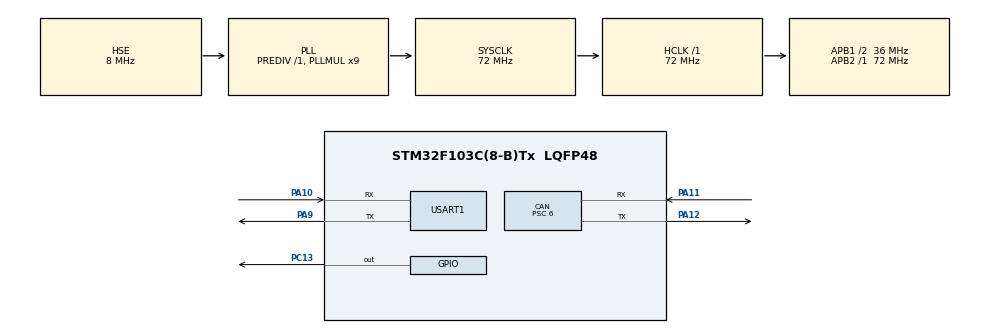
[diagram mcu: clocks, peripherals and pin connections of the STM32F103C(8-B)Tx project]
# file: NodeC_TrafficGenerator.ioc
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CAN.ABOM=ENABLE
CAN.BS1=CAN_BS1_9TQ
CAN.BS2=CAN_BS2_2TQ
CAN.CalculateBaudRate=499999
CAN.CalculateTimeBit=2000
CAN.CalculateTimeQuantum=166.66666666666669
CAN.Prescaler=6
Mcu.Family=STM32F1
Mcu.Name=STM32F103C(8-B)Tx
Mcu.Package=LQFP48
NVIC.PriorityGroup=NVIC_PRIORITYGROUP_4
PA10.Mode=Asynchronous
PA10.Signal=USART1_RX
PA11.Mode=CAN_Activate
PA11.Signal=CAN_RX
PA12.Mode=CAN_Activate
PA12.Signal=CAN_TX
PA13.Mode=Serial_Wire
PA13.Signal=SYS_JTMS-SWDIO
PA14.Mode=Serial_Wire
PA14.Signal=SYS_JTCK-SWCLK
PA9.Mode=Asynchronous
PA9.Signal=USART1_TX
PC13-TAMPER-RTC.Signal=GPIO_Output
PD0-OSC_IN.Mode=HSE-External-Oscillator
PD0-OSC_IN.Signal=RCC_OSC_IN
PD1-OSC_OUT.Mode=HSE-External-Oscillator
PD1-OSC_OUT.Signal=RCC_OSC_OUT
ProjectManager.HeapSize=0x200
ProjectManager.StackSize=0x400
ProjectManager.TargetToolchain=MDK-ARM V5.32
RCC.AHBFreq_Value=72000000
RCC.APB1CLKDivider=RCC_HCLK_DIV2
RCC.APB1Freq_Value=36000000
RCC.APB1TimFreq_Value=72000000
RCC.APB2Freq_Value=72000000
RCC.APB2TimFreq_Value=72000000
RCC.HCLKFreq_Value=72000000
RCC.PLLMUL=RCC_PLL_MUL9
RCC.PLLSourceVirtual=RCC_PLLSOURCE_HSE
RCC.SYSCLKFreq_VALUE=72000000
RCC.SYSCLKSource=RCC_SYSCLKSOURCE_PLLCLK
RCC.USBFreq_Value=72000000
USART1.VirtualMode=VM_ASYNC
board=custom

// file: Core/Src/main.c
/* USER CODE BEGIN Header */
/**
  ******************************************************************************
  * @file           : main.c
  * @brief          : Main program body
  ******************************************************************************
  * @attention
  *
  * Copyright (c) 2026 STMicroelectronics.
  * All rights reserved.
  *
  * This software is licensed under terms that can be found in the LICENSE file
  * in the root directory of this software component.
  * If no LICENSE file comes with this software, it is provided AS-IS.
  *
  ******************************************************************************
  */
/* USER CODE END Header */
#include "main.h"
#include "can.h"
#include "usart.h"
#include "gpio.h"

/* USER CODE BEGIN Includes */
#include "string.h"
#include "stdio.h"

/* USER CODE END Includes */

/* USER CODE BEGIN PV */
CAN_TxHeaderTypeDef TxHeader;
uint8_t             JunkData[8] = {0xAA, 0xBB, 0xCC, 0xDD, 0xEE, 0xFF, 0x11, 0x22};
uint32_t            TxMailbox;
uint32_t            msg_sent_count = 0; /* Counter for sent messages */
char                uart_buf[100];
uint32_t error_count = 0;
uint32_t last_sent_count = 0;

uint32_t last_debug_time = 0;

/* USER CODE END PV */

void SystemClock_Config(void);

int main(void)
{

  /* MCU Configuration--------------------------------------------------------*/

  /* Reset of all peripherals, Initializes the Flash interface and the Systick. */
  HAL_Init();

  /* Configure the system clock */
  SystemClock_Config();

  /* Initialize all configured peripherals */
  MX_GPIO_Init();
  MX_CAN_Init();
  MX_USART1_UART_Init();
  /* USER CODE BEGIN 2 */
	/* 1. Start CAN Peripheral */
	HAL_CAN_Start(&hcan);

	/* 2. Configure Header for Junk Messages */
	TxHeader.RTR = CAN_RTR_DATA;
	TxHeader.IDE = CAN_ID_STD;
	TxHeader.DLC = 8; /* Max data length to increase bus load */
	TxHeader.TransmitGlobalTime = DISABLE;

	printf("Junk Node Started -> Generating Stress Traffic...\r\n");

  /* USER CODE END 2 */

  /* Infinite loop */
  while (1)
  {

    /* USER CODE BEGIN 3 */

		/* 1. Setup the highest priority junk frame */
    TxHeader.StdId = 0x001;
    TxHeader.DLC = 8;

    if (HAL_CAN_GetTxMailboxesFreeLevel(&hcan) > 0)
    {
      if (HAL_CAN_AddTxMessage(&hcan, &TxHeader, JunkData, &TxMailbox) == HAL_OK)
      {
        msg_sent_count++;
      }
      else
      {
        error_count++;
      }
    }
    else
    {
      error_count++;
    }

		HAL_Delay(1);

    /* Print to UART and Toggle LED every 1000ms (1 second) */
    if (HAL_GetTick() - last_debug_time >= 1000)
    {
      last_debug_time = HAL_GetTick();

      /* Calculate messages sent IN THE LAST 1 SECOND */
      uint32_t pkts_per_sec = msg_sent_count - last_sent_count;

      printf("STRESS TEST -> Speed: %lu pkts/sec | Mailbox Busy: %lu times\r\n",
            (unsigned long)pkts_per_sec, (unsigned long)error_count);

      /* Update the baseline for the next second calculation */
      last_sent_count = msg_sent_count;

      /* Reset error_count to see busy times per second (Optional but recommended) */
      error_count = 0;

      HAL_GPIO_TogglePin(GPIOC, GPIO_PIN_13);
    }

  }
  /* USER CODE END 3 */
}

void SystemClock_Config(void)
{
  RCC_OscInitTypeDef RCC_OscInitStruct = {0};
  RCC_ClkInitTypeDef RCC_ClkInitStruct = {0};

  /** Initializes the RCC Oscillators according to the specified parameters
  * in the RCC_OscInitTypeDef structure.
  */
  RCC_OscInitStruct.OscillatorType = RCC_OSCILLATORTYPE_HSE;
  RCC_OscInitStruct.HSEState = RCC_HSE_ON;
  RCC_OscInitStruct.HSEPredivValue = RCC_HSE_PREDIV_DIV1;
  RCC_OscInitStruct.HSIState = RCC_HSI_ON;
  RCC_OscInitStruct.PLL.PLLState = RCC_PLL_ON;
  RCC_OscInitStruct.PLL.PLLSource = RCC_PLLSOURCE_HSE;
  RCC_OscInitStruct.PLL.PLLMUL = RCC_PLL_MUL9;
  if (HAL_RCC_OscConfig(&RCC_OscInitStruct) != HAL_OK)
  {
    Error_Handler();
  }

  /** Initializes the CPU, AHB and APB buses clocks
  */
  RCC_ClkInitStruct.ClockType = RCC_CLOCKTYPE_HCLK|RCC_CLOCKTYPE_SYSCLK
                              |RCC_CLOCKTYPE_PCLK1|RCC_CLOCKTYPE_PCLK2;
  RCC_ClkInitStruct.SYSCLKSource = RCC_SYSCLKSOURCE_PLLCLK;
  RCC_ClkInitStruct.AHBCLKDivider = RCC_SYSCLK_DIV1;
  RCC_ClkInitStruct.APB1CLKDivider = RCC_HCLK_DIV2;
  RCC_ClkInitStruct.APB2CLKDivider = RCC_HCLK_DIV1;

  if (HAL_RCC_ClockConfig(&RCC_ClkInitStruct, FLASH_LATENCY_2) != HAL_OK)
  {
    Error_Handler();
  }
}

/* USER CODE BEGIN 4 */
#include <stdio.h>

#ifdef __GNUC__
  #define PUTCHAR_PROTOTYPE int __io_putchar(int ch)
#else
  #define PUTCHAR_PROTOTYPE int fputc(int ch, FILE *f)
#endif

PUTCHAR_PROTOTYPE
{
  /* �?m b?o d�ng d�ng b? UART b?n d� c?u h�nh, v� d? &huart1 */
  HAL_UART_Transmit(&huart1, (uint8_t *)&ch, 1, 0xFFFF);
  return ch;
}

/* USER CODE END 4 */

void Error_Handler(void)
{
  __disable_irq();
  while (1)
  {
  }
}
